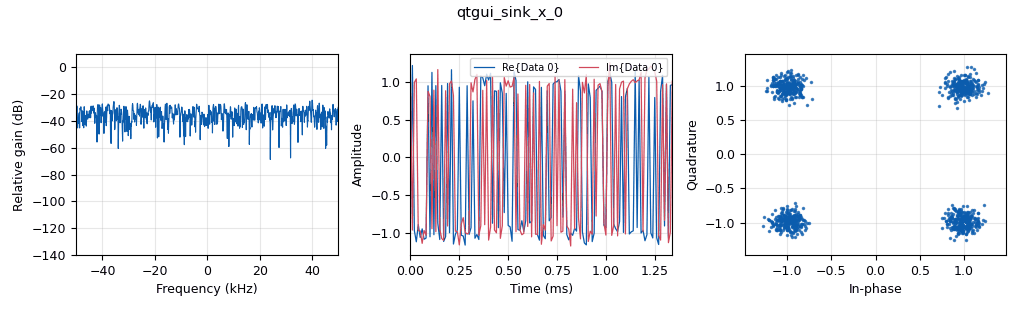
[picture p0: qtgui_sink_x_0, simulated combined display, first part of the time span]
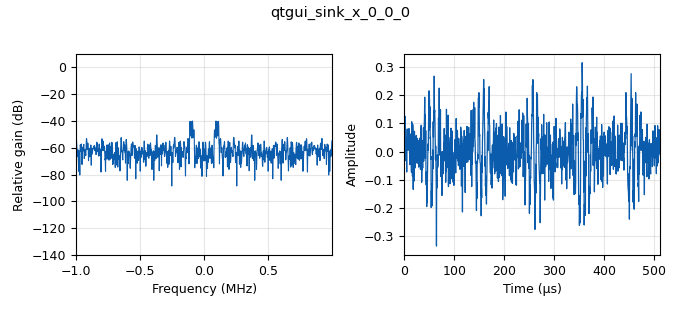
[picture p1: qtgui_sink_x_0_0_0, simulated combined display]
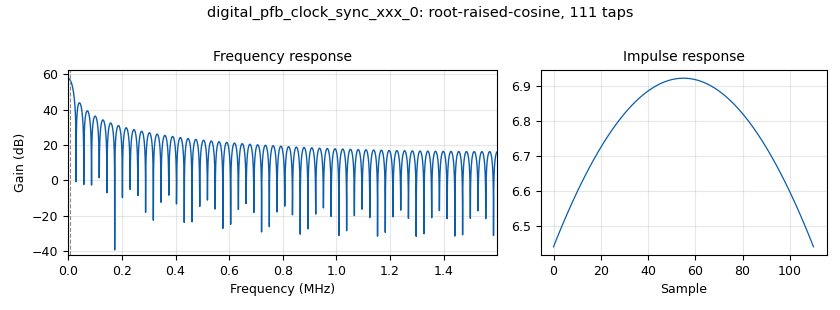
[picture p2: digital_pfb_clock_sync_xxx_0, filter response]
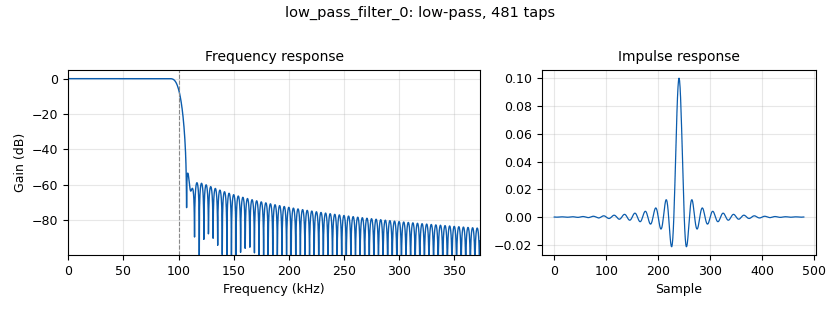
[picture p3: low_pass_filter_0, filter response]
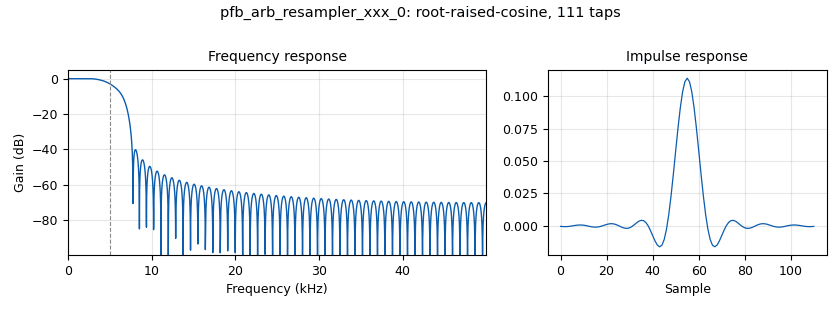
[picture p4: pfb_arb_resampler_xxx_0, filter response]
options:
  parameters:
    generate_options: qt_gui
    id: lab94
    output_language: python
    title: lab94
  states: {}

blocks:
- name: amp
  id: variable_qtgui_range
  parameters:
    label: amp
    start: '0'
    step: '0.01'
    stop: '1'
    value: '0.05'
  states: {}
- name: analog_noise_source_x_0
  id: analog_noise_source_x
  parameters:
    amp: amp
    noise_type: analog.GR_GAUSSIAN
    seed: '0'
    type: float
  states: {}
- name: analog_random_source_x_0
  id: analog_random_source_x
  parameters:
    max: '4'
    min: '0'
    num_samps: '1000'
    repeat: 'True'
    type: byte
  states: {}
- name: analog_sig_source_x_0
  id: analog_sig_source_x
  parameters:
    amp: '1'
    freq: '100000'
    offset: '0'
    phase: '0'
    samp_rate: '2000000'
    type: float
    waveform: analog.GR_SIN_WAVE
  states: {}
- name: analog_sig_source_x_0_0
  id: analog_sig_source_x
  parameters:
    amp: '1'
    freq: '100000'
    offset: '0'
    phase: '0'
    samp_rate: '2000000'
    type: float
    waveform: analog.GR_SIN_WAVE
  states: {}
- name: analog_sig_source_x_0_0_0
  id: analog_sig_source_x
  parameters:
    amp: '1'
    freq: '100000'
    offset: '0'
    phase: '0'
    samp_rate: '2000000'
    type: float
    waveform: analog.GR_COS_WAVE
  states: {}
- name: analog_sig_source_x_0_1
  id: analog_sig_source_x
  parameters:
    amp: '1'
    freq: '100000'
    offset: '0'
    phase: '0'
    samp_rate: '2000000'
    type: float
    waveform: analog.GR_COS_WAVE
  states: {}
- name: blocks_add_xx_0
  id: blocks_add_xx
  parameters:
    type: float
  states: {}
- name: blocks_add_xx_0_0
  id: blocks_add_xx
  parameters:
    type: float
  states: {}
- name: blocks_add_xx_0_0_0
  id: blocks_add_xx
  parameters:
    type: float
  states: {}
- name: blocks_add_xx_1
  id: blocks_add_xx
  parameters:
    type: complex
  states: {}
- name: blocks_add_xx_2
  id: blocks_add_xx
  parameters:
    type: complex
  states: {}
- name: blocks_add_xx_3
  id: blocks_add_xx
  parameters:
    type: complex
  states: {}
- name: blocks_add_xx_5
  id: blocks_add_xx
  parameters:
    type: complex
  states: {}
- name: blocks_complex_to_float_0
  id: blocks_complex_to_float
  parameters: {}
  states: {}
- name: blocks_delay_0
  id: blocks_delay
  parameters:
    delay: '200'
    type: float
  states: {}
- name: blocks_delay_0_0
  id: blocks_delay
  parameters:
    delay: '1'
    type: complex
  states: {}
- name: blocks_delay_0_0_0
  id: blocks_delay
  parameters:
    delay: '1'
    type: complex
  states: {}
- name: blocks_delay_0_0_1
  id: blocks_delay
  parameters:
    delay: '1'
    type: complex
  states: {}
- name: blocks_delay_0_0_2
  id: blocks_delay
  parameters:
    delay: '1'
    type: complex
  states: {}
- name: blocks_float_to_complex_0
  id: blocks_float_to_complex
  parameters: {}
  states: {}
- name: blocks_multiply_const_vxx_0
  id: blocks_multiply_const_vxx
  parameters:
    const: '0.5'
    type: float
  states: {}
- name: blocks_multiply_const_vxx_0_0
  id: blocks_multiply_const_vxx
  parameters:
    const: '-0.5'
    type: complex
  states: {}
- name: blocks_multiply_const_vxx_0_0_0
  id: blocks_multiply_const_vxx
  parameters:
    const: '-0.5'
    type: complex
  states: {}
- name: blocks_multiply_const_vxx_0_0_1
  id: blocks_multiply_const_vxx
  parameters:
    const: '-0.5'
    type: complex
  states: {}
- name: blocks_multiply_const_vxx_0_0_2
  id: blocks_multiply_const_vxx
  parameters:
    const: '-0.5'
    type: complex
  states: {}
- name: blocks_multiply_const_vxx_1
  id: blocks_multiply_const_vxx
  parameters:
    const: '-1'
    type: float
  states: {}
- name: blocks_multiply_const_vxx_1_0
  id: blocks_multiply_const_vxx
  parameters:
    const: '-1'
    type: float
  states: {}
- name: blocks_multiply_xx_0
  id: blocks_multiply_xx
  parameters:
    type: float
  states: {}
- name: blocks_multiply_xx_0_0
  id: blocks_multiply_xx
  parameters:
    type: float
  states: {}
- name: blocks_multiply_xx_0_0_0
  id: blocks_multiply_xx
  parameters:
    type: float
  states: {}
- name: blocks_multiply_xx_0_1
  id: blocks_multiply_xx
  parameters:
    type: float
  states: {}
- name: blocks_throttle_0_0_0
  id: blocks_throttle
  parameters:
    samples_per_second: '2000000'
    type: float
  states: {}
- name: digital_chunks_to_symbols_xx_0
  id: digital_chunks_to_symbols_xx
  parameters:
    dimension: '1'
    in_type: byte
    out_type: complex
    symbol_table: (1+1j, -1+1j, 1-1j, -1-1j)
  states: {}
- name: digital_pfb_clock_sync_xxx_0
  id: digital_pfb_clock_sync_xxx
  parameters:
    filter_size: '32'
    init_phase: '16'
    loop_bw: '0.062831853'
    max_dev: '1.5'
    osps: '1'
    sps: '10'
    taps: firdes.root_raised_cosine(750, 3200000, 10000, 0.5, 110)
    type: ccf
  states: {}
- name: low_pass_filter_0
  id: low_pass_filter
  parameters:
    cutoff_freq: '100000'
    gain: '1'
    interp: '1'
    samp_rate: '2000000'
    type: interp_fir_filter_fff
    width: '10000'
    win: window.WIN_HAMMING
  states: {}
- name: low_pass_filter_0_0
  id: low_pass_filter
  parameters:
    cutoff_freq: '100000'
    gain: '1'
    interp: '1'
    samp_rate: '2000000'
    type: interp_fir_filter_fff
    width: '10000'
    win: window.WIN_HAMMING
  states: {}
- name: pfb_arb_resampler_xxx_0
  id: pfb_arb_resampler_xxx
  parameters:
    atten: '100'
    nfilts: '32'
    rrate: '10'
    taps: firdes.root_raised_cosine(1, 100000, 10000, 0.5, 110)
    type: ccf
  states: {}
- name: qtgui_sink_x_0
  id: qtgui_sink_x
  parameters:
    bw: '100000'
    fc: '0'
    fftsize: '1024'
    type: complex
  states: {}
- name: qtgui_sink_x_0_0_0
  id: qtgui_sink_x
  parameters:
    bw: '2000000'
    fc: '0'
    fftsize: '1024'
    type: float
  states: {}
- name: rational_resampler_xxx_0
  id: rational_resampler_xxx
  parameters:
    decim: '1'
    interp: '20'
    type: ccc
  states: {}
- name: rational_resampler_xxx_1
  id: rational_resampler_xxx
  parameters:
    decim: '20'
    interp: '1'
    type: ccc
  states: {}

connections:
- [analog_noise_source_x_0, '0', blocks_add_xx_0_0, '0']
- [analog_random_source_x_0, '0', digital_chunks_to_symbols_xx_0, '0']
- [analog_sig_source_x_0, '0', blocks_multiply_const_vxx_1, '0']
- [analog_sig_source_x_0_0, '0', blocks_multiply_const_vxx_1_0, '0']
- [analog_sig_source_x_0_0_0, '0', blocks_multiply_xx_0_0_0, '0']
- [analog_sig_source_x_0_1, '0', blocks_multiply_xx_0_1, '0']
- [blocks_add_xx_0, '0', blocks_add_xx_0_0, '1']
- [blocks_add_xx_0_0, '0', blocks_add_xx_0_0_0, '1']
- [blocks_add_xx_0_0, '0', blocks_delay_0, '0']
- [blocks_add_xx_0_0_0, '0', blocks_multiply_xx_0_0, '0']
- [blocks_add_xx_0_0_0, '0', blocks_multiply_xx_0_0_0, '1']
- [blocks_add_xx_0_0_0, '0', blocks_throttle_0_0_0, '0']
- [blocks_add_xx_1, '0', blocks_add_xx_2, '1']
- [blocks_add_xx_2, '0', blocks_add_xx_3, '1']
- [blocks_add_xx_3, '0', blocks_add_xx_5, '1']
- [blocks_add_xx_5, '0', qtgui_sink_x_0, '0']
- [blocks_complex_to_float_0, '0', blocks_multiply_xx_0_1, '1']
- [blocks_complex_to_float_0, '1', blocks_multiply_xx_0, '0']
- [blocks_delay_0, '0', blocks_multiply_const_vxx_0, '0']
- [blocks_delay_0_0, '0', blocks_multiply_const_vxx_0_0, '0']
- [blocks_delay_0_0_0, '0', blocks_multiply_const_vxx_0_0_0, '0']
- [blocks_delay_0_0_1, '0', blocks_multiply_const_vxx_0_0_1, '0']
- [blocks_delay_0_0_2, '0', blocks_multiply_const_vxx_0_0_2, '0']
- [blocks_float_to_complex_0, '0', rational_resampler_xxx_1, '0']
- [blocks_multiply_const_vxx_0, '0', blocks_add_xx_0_0_0, '0']
- [blocks_multiply_const_vxx_0_0, '0', blocks_add_xx_1, '0']
- [blocks_multiply_const_vxx_0_0, '0', blocks_delay_0_0_2, '0']
- [blocks_multiply_const_vxx_0_0_0, '0', blocks_add_xx_5, '0']
- [blocks_multiply_const_vxx_0_0_1, '0', blocks_add_xx_3, '0']
- [blocks_multiply_const_vxx_0_0_1, '0', blocks_delay_0_0_0, '0']
- [blocks_multiply_const_vxx_0_0_2, '0', blocks_add_xx_2, '0']
- [blocks_multiply_const_vxx_0_0_2, '0', blocks_delay_0_0_1, '0']
- [blocks_multiply_const_vxx_1, '0', blocks_multiply_xx_0, '1']
- [blocks_multiply_const_vxx_1_0, '0', blocks_multiply_xx_0_0, '1']
- [blocks_multiply_xx_0, '0', blocks_add_xx_0, '1']
- [blocks_multiply_xx_0_0, '0', low_pass_filter_0, '0']
- [blocks_multiply_xx_0_0_0, '0', low_pass_filter_0_0, '0']
- [blocks_multiply_xx_0_1, '0', blocks_add_xx_0, '0']
- [blocks_throttle_0_0_0, '0', qtgui_sink_x_0_0_0, '0']
- [digital_chunks_to_symbols_xx_0, '0', pfb_arb_resampler_xxx_0, '0']
- [digital_pfb_clock_sync_xxx_0, '0', blocks_add_xx_1, '1']
- [digital_pfb_clock_sync_xxx_0, '0', blocks_delay_0_0, '0']
- [low_pass_filter_0, '0', blocks_float_to_complex_0, '1']
- [low_pass_filter_0_0, '0', blocks_float_to_complex_0, '0']
- [pfb_arb_resampler_xxx_0, '0', rational_resampler_xxx_0, '0']
- [rational_resampler_xxx_0, '0', blocks_complex_to_float_0, '0']
- [rational_resampler_xxx_1, '0', digital_pfb_clock_sync_xxx_0, '0']

metadata:
  file_format: 1
